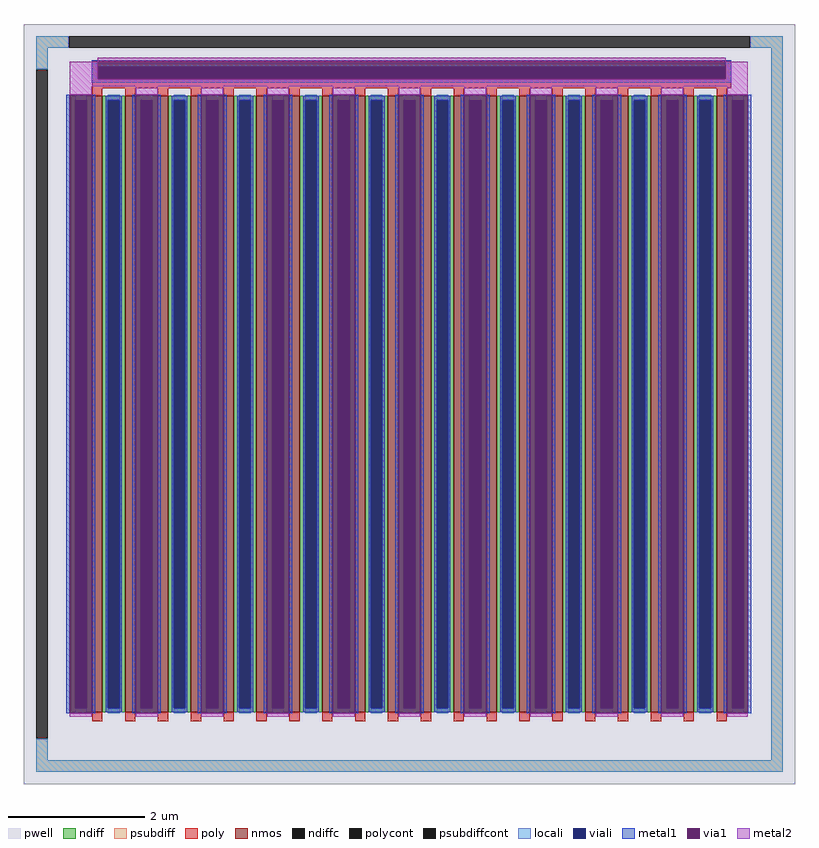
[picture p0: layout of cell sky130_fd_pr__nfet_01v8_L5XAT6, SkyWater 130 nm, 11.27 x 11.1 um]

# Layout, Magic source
magic
tech sky130A
magscale 1 2
<< pwell >>
rect -1127 -1110 1127 1110
<< nmos >>
rect -927 -900 -897 900
rect -831 -900 -801 900
rect -735 -900 -705 900
rect -639 -900 -609 900
rect -543 -900 -513 900
rect -447 -900 -417 900
rect -351 -900 -321 900
rect -255 -900 -225 900
rect -159 -900 -129 900
rect -63 -900 -33 900
rect 33 -900 63 900
rect 129 -900 159 900
rect 225 -900 255 900
rect 321 -900 351 900
rect 417 -900 447 900
rect 513 -900 543 900
rect 609 -900 639 900
rect 705 -900 735 900
rect 801 -900 831 900
rect 897 -900 927 900
<< ndiff >>
rect -989 888 -927 900
rect -989 -888 -977 888
rect -943 -888 -927 888
rect -989 -900 -927 -888
rect -897 888 -831 900
rect -897 -888 -881 888
rect -847 -888 -831 888
rect -897 -900 -831 -888
rect -801 888 -735 900
rect -801 -888 -785 888
rect -751 -888 -735 888
rect -801 -900 -735 -888
rect -705 888 -639 900
rect -705 -888 -689 888
rect -655 -888 -639 888
rect -705 -900 -639 -888
rect -609 888 -543 900
rect -609 -888 -593 888
rect -559 -888 -543 888
rect -609 -900 -543 -888
rect -513 888 -447 900
rect -513 -888 -497 888
rect -463 -888 -447 888
rect -513 -900 -447 -888
rect -417 888 -351 900
rect -417 -888 -401 888
rect -367 -888 -351 888
rect -417 -900 -351 -888
rect -321 888 -255 900
rect -321 -888 -305 888
rect -271 -888 -255 888
rect -321 -900 -255 -888
rect -225 888 -159 900
rect -225 -888 -209 888
rect -175 -888 -159 888
rect -225 -900 -159 -888
rect -129 888 -63 900
rect -129 -888 -113 888
rect -79 -888 -63 888
rect -129 -900 -63 -888
rect -33 888 33 900
rect -33 -888 -17 888
rect 17 -888 33 888
rect -33 -900 33 -888
rect 63 888 129 900
rect 63 -888 79 888
rect 113 -888 129 888
rect 63 -900 129 -888
rect 159 888 225 900
rect 159 -888 175 888
rect 209 -888 225 888
rect 159 -900 225 -888
rect 255 888 321 900
rect 255 -888 271 888
rect 305 -888 321 888
rect 255 -900 321 -888
rect 351 888 417 900
rect 351 -888 367 888
rect 401 -888 417 888
rect 351 -900 417 -888
rect 447 888 513 900
rect 447 -888 463 888
rect 497 -888 513 888
rect 447 -900 513 -888
rect 543 888 609 900
rect 543 -888 559 888
rect 593 -888 609 888
rect 543 -900 609 -888
rect 639 888 705 900
rect 639 -888 655 888
rect 689 -888 705 888
rect 639 -900 705 -888
rect 735 888 801 900
rect 735 -888 751 888
rect 785 -888 801 888
rect 735 -900 801 -888
rect 831 888 897 900
rect 831 -888 847 888
rect 881 -888 897 888
rect 831 -900 897 -888
rect 927 888 989 900
rect 927 -888 943 888
rect 977 -888 989 888
rect 927 -900 989 -888
<< ndiffc >>
rect -977 -888 -943 888
rect -881 -888 -847 888
rect -785 -888 -751 888
rect -689 -888 -655 888
rect -593 -888 -559 888
rect -497 -888 -463 888
rect -401 -888 -367 888
rect -305 -888 -271 888
rect -209 -888 -175 888
rect -113 -888 -79 888
rect -17 -888 17 888
rect 79 -888 113 888
rect 175 -888 209 888
rect 271 -888 305 888
rect 367 -888 401 888
rect 463 -888 497 888
rect 559 -888 593 888
rect 655 -888 689 888
rect 751 -888 785 888
rect 847 -888 881 888
rect 943 -888 977 888
<< psubdiff >>
rect -1091 1040 -995 1074
rect 995 1040 1091 1074
rect -1091 978 -1057 1040
rect -1091 -1040 -1057 -978
rect 1057 -1040 1091 1040
rect -1091 -1074 1091 -1040
<< psubdiffcont >>
rect -995 1040 995 1074
rect -1091 -978 -1057 978
<< poly >>
rect -927 985 940 1002
rect -927 949 -910 985
rect 924 949 940 985
rect -927 922 940 949
rect -927 900 -897 922
rect -831 900 -801 922
rect -735 900 -705 922
rect -639 900 -609 922
rect -543 900 -513 922
rect -447 900 -417 922
rect -351 900 -321 922
rect -255 900 -225 922
rect -159 900 -129 922
rect -63 900 -33 922
rect 33 900 63 922
rect 129 900 159 922
rect 225 900 255 922
rect 321 900 351 922
rect 417 900 447 922
rect 513 900 543 922
rect 609 900 639 922
rect 705 900 735 922
rect 801 900 831 922
rect 897 900 927 922
rect -927 -926 -897 -900
rect -831 -926 -801 -900
rect -735 -926 -705 -900
rect -639 -926 -609 -900
rect -543 -926 -513 -900
rect -447 -926 -417 -900
rect -351 -926 -321 -900
rect -255 -926 -225 -900
rect -159 -926 -129 -900
rect -63 -926 -33 -900
rect 33 -926 63 -900
rect 129 -926 159 -900
rect 225 -926 255 -900
rect 321 -926 351 -900
rect 417 -926 447 -900
rect 513 -926 543 -900
rect 609 -926 639 -900
rect 705 -926 735 -900
rect 801 -926 831 -900
rect 897 -926 927 -900
<< polycont >>
rect -910 949 924 985
<< locali >>
rect -1091 1040 -995 1074
rect 995 1040 1091 1074
rect -1091 978 -1057 1040
rect -926 985 940 996
rect -926 949 -910 985
rect 924 949 940 985
rect -926 939 940 949
rect -977 888 -943 904
rect -977 -904 -943 -888
rect -881 888 -847 904
rect -881 -904 -847 -888
rect -785 888 -751 904
rect -785 -904 -751 -888
rect -689 888 -655 904
rect -689 -904 -655 -888
rect -593 888 -559 904
rect -593 -904 -559 -888
rect -497 888 -463 904
rect -497 -904 -463 -888
rect -401 888 -367 904
rect -401 -904 -367 -888
rect -305 888 -271 904
rect -305 -904 -271 -888
rect -209 888 -175 904
rect -209 -904 -175 -888
rect -113 888 -79 904
rect -113 -904 -79 -888
rect -17 888 17 904
rect -17 -904 17 -888
rect 79 888 113 904
rect 79 -904 113 -888
rect 175 888 209 904
rect 175 -904 209 -888
rect 271 888 305 904
rect 271 -904 305 -888
rect 367 888 401 904
rect 367 -904 401 -888
rect 463 888 497 904
rect 463 -904 497 -888
rect 559 888 593 904
rect 559 -904 593 -888
rect 655 888 689 904
rect 655 -904 689 -888
rect 751 888 785 904
rect 751 -904 785 -888
rect 847 888 881 904
rect 847 -904 881 -888
rect 943 888 977 904
rect 943 -904 977 -888
rect -1091 -1040 -1057 -978
rect 1057 -1040 1091 1040
rect -1091 -1074 1091 -1040
<< viali >>
rect -910 949 924 985
rect -977 -888 -943 888
rect -881 -888 -847 888
rect -785 -888 -751 888
rect -689 -888 -655 888
rect -593 -888 -559 888
rect -497 -888 -463 888
rect -401 -888 -367 888
rect -305 -888 -271 888
rect -209 -888 -175 888
rect -113 -888 -79 888
rect -17 -888 17 888
rect 79 -888 113 888
rect 175 -888 209 888
rect 271 -888 305 888
rect 367 -888 401 888
rect 463 -888 497 888
rect 559 -888 593 888
rect 655 -888 689 888
rect 751 -888 785 888
rect 847 -888 881 888
rect 943 -888 977 888
<< metal1 >>
rect -928 1001 940 1004
rect -928 949 -910 1001
rect 924 949 940 1001
rect -928 939 940 949
rect -1002 -904 -992 904
rect -928 -904 -918 904
rect -887 888 -841 900
rect -887 -888 -881 888
rect -847 -888 -841 888
rect -887 -900 -841 -888
rect -810 -904 -800 904
rect -736 -904 -726 904
rect -695 888 -649 900
rect -695 -888 -689 888
rect -655 -888 -649 888
rect -695 -900 -649 -888
rect -618 -904 -608 904
rect -544 -904 -534 904
rect -503 888 -457 900
rect -503 -888 -497 888
rect -463 -888 -457 888
rect -503 -900 -457 -888
rect -426 -904 -416 904
rect -352 -904 -342 904
rect -311 888 -265 900
rect -311 -888 -305 888
rect -271 -888 -265 888
rect -311 -900 -265 -888
rect -234 -904 -224 904
rect -160 -904 -150 904
rect -119 888 -73 900
rect -119 -888 -113 888
rect -79 -888 -73 888
rect -119 -900 -73 -888
rect -42 -904 -32 904
rect 32 -904 42 904
rect 73 888 119 900
rect 73 -888 79 888
rect 113 -888 119 888
rect 73 -900 119 -888
rect 150 -904 160 904
rect 224 -904 234 904
rect 265 888 311 900
rect 265 -888 271 888
rect 305 -888 311 888
rect 265 -900 311 -888
rect 342 -904 352 904
rect 416 -904 426 904
rect 457 888 503 900
rect 457 -888 463 888
rect 497 -888 503 888
rect 457 -900 503 -888
rect 534 -904 544 904
rect 608 -904 618 904
rect 649 888 695 900
rect 649 -888 655 888
rect 689 -888 695 888
rect 649 -900 695 -888
rect 726 -904 736 904
rect 800 -904 810 904
rect 841 888 887 900
rect 841 -888 847 888
rect 881 -888 887 888
rect 841 -900 887 -888
rect 918 -904 928 904
rect 988 -904 998 904
<< via1 >>
rect -910 985 924 1001
rect -910 949 924 985
rect -992 888 -928 904
rect -992 -888 -977 888
rect -977 -888 -943 888
rect -943 -888 -928 888
rect -992 -904 -928 -888
rect -800 888 -736 904
rect -800 -888 -785 888
rect -785 -888 -751 888
rect -751 -888 -736 888
rect -800 -904 -736 -888
rect -608 888 -544 904
rect -608 -888 -593 888
rect -593 -888 -559 888
rect -559 -888 -544 888
rect -608 -904 -544 -888
rect -416 888 -352 904
rect -416 -888 -401 888
rect -401 -888 -367 888
rect -367 -888 -352 888
rect -416 -904 -352 -888
rect -224 888 -160 904
rect -224 -888 -209 888
rect -209 -888 -175 888
rect -175 -888 -160 888
rect -224 -904 -160 -888
rect -32 888 32 904
rect -32 -888 -17 888
rect -17 -888 17 888
rect 17 -888 32 888
rect -32 -904 32 -888
rect 160 888 224 904
rect 160 -888 175 888
rect 175 -888 209 888
rect 209 -888 224 888
rect 160 -904 224 -888
rect 352 888 416 904
rect 352 -888 367 888
rect 367 -888 401 888
rect 401 -888 416 888
rect 352 -904 416 -888
rect 544 888 608 904
rect 544 -888 559 888
rect 559 -888 593 888
rect 593 -888 608 888
rect 544 -904 608 -888
rect 736 888 800 904
rect 736 -888 751 888
rect 751 -888 785 888
rect 785 -888 800 888
rect 736 -904 800 -888
rect 928 888 988 904
rect 928 -888 943 888
rect 943 -888 977 888
rect 977 -888 988 888
rect 928 -904 988 -888
<< metal2 >>
rect -910 1001 924 1011
rect -992 949 -910 1000
rect 924 949 988 1000
rect -992 928 988 949
rect -992 904 -928 928
rect -992 -914 -928 -904
rect -800 904 -736 928
rect -800 -914 -736 -904
rect -608 904 -544 928
rect -608 -914 -544 -904
rect -416 904 -352 928
rect -416 -914 -352 -904
rect -224 904 -160 928
rect -224 -914 -160 -904
rect -32 904 32 928
rect -32 -914 32 -904
rect 160 904 224 928
rect 160 -914 224 -904
rect 352 904 416 928
rect 352 -914 416 -904
rect 544 904 608 928
rect 544 -914 608 -904
rect 736 904 800 928
rect 736 -914 800 -904
rect 928 904 988 928
rect 928 -914 988 -904
<< properties >>
string gencell sky130_fd_pr__nfet_01v8
string FIXED_BBOX -1074 -1057 1074 1057
string parameters w 9 l 0.150 m 1 nf 20 diffcov 100 polycov 100 guard 1 glc 1 grc 0 gtc 1 gbc 0 tbcov 100 rlcov 100 topc 1 botc 0 poverlap 1 doverlap 1 lmin 0.15 wmin 0.42 compatible {sky130_fd_pr__nfet_01v8 sky130_fd_pr__nfet_01v8_lvt  sky130_fd_bs_flash__special_sonosfet_star  sky130_fd_pr__nfet_g5v0d10v5 sky130_fd_pr__nfet_05v0_nvt  sky130_fd_pr__nfet_03v3_nvt} full_metal 1 viasrc 100 viadrn 100 viagate 100 viagb 0 viagr 0 viagl 0 viagt 0
string library sky130
<< end >>
